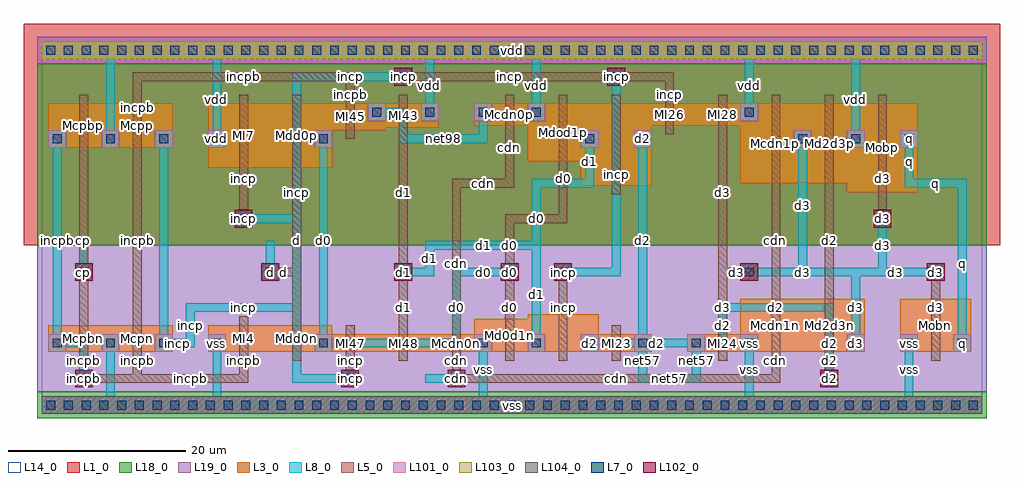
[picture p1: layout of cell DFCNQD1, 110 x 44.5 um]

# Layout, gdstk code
import gdstk
lib = gdstk.Library(unit=1e-6, precision=1e-09)
def R(c, l, rs):  # rectangles x0, y0, x1, y1
    for r in rs: c.add(gdstk.rectangle(r[:2], r[2:], *l))
def A(c, l, x, y, w, h, nx, ny, dx, dy):  # array of equal rectangles
    R(c, l, [(x+i*dx, y+j*dy, x+i*dx+w, y+j*dy+h) for i in range(nx) for j in range(ny)])
L1_0 = (1, 0)
L3_0 = (3, 0)
L5_0 = (5, 0)
L7_0 = (7, 0)
L8_0 = (8, 0)
L13_0 = (13, 0)
L14_0 = (14, 0)
L18_0 = (18, 0)
L19_0 = (19, 0)
L101_0 = (101, 0)
L102_0 = (102, 0)
L103_0 = (103, 0)
L104_0 = (104, 0)

dfcnqd1 = lib.new_cell('DFCNQD1')
R(dfcnqd1, L1_0, [(-2,18,108,43)])
A(dfcnqd1, L3_0, 0.75, 6, 2, 2, 4, 2, 6, 23)
A(dfcnqd1, L3_0, 30.75, 6, 8, 2, 3, 1, 6, 0)
A(dfcnqd1, L3_0, 48.75, 6, 2, 2, 6, 1, 6, 0)
A(dfcnqd1, L3_0, 90.75, 6, 2, 2, 3, 1, 6, 0)
A(dfcnqd1, L3_0, 84.75, 29, 2, 2, 3, 1, 6, 0)
A(dfcnqd1, L3_0, 36.75, 32, 2, 2, 4, 1, 6, 0)
R(dfcnqd1, L3_0, [(0,-1,106,1), (0,-1,106,1), (0.75,6,8.75,9), (6.75,6,14.75,9), (18.75,6,26.75,9), (24.75,6,32.75,9), (30.75,6,32.75,8), (48.75,6,56.75,9.75), (54.75,6,62.75,10.25), (60.75,6,68.75,8), (72.75,6,80.75,8), (78.75,6,86.75,12), (84.75,6,92.75,12), (96.75,6,104.75,12), (90.75,24,98.75,34), (60.75,24.75,68.75,34), (78.75,25,86.75,34), (84.75,25,92.75,34), (18.75,26.75,26.75,34), (24.75,26.75,32.75,34), (54.75,27.5,62.75,34), (0.75,29,8.75,34), (6.75,29,14.75,34), (30.75,29,32.75,31), (60.75,29,62.75,31), (66.75,29,68.75,31), (30.75,31,38.75,34), (36.75,31.25,44.75,34), (48.75,31.5,56.75,34), (66.75,31.5,74.75,34), (72.75,31.5,80.75,34), (78.75,32,80.75,34), (0,39,106,41), (0,39,106,41)])
A(dfcnqd1, L5_0, 10.25, 2.5, 1, 5, 4, 1, 12, 0)
A(dfcnqd1, L5_0, 34.25, 5, 1, 4, 3, 1, 6, 0)
A(dfcnqd1, L5_0, 57.75, 14, 2, 2, 3, 1, 21, 0)
A(dfcnqd1, L5_0, 22.25, 20.5, 1, 10, 3, 1, 36, 0)
R(dfcnqd1, L5_0, [(3.75,2,5.75,4), (33.75,2,35.75,4), (45.75,2,47.75,4), (87.75,2,89.75,4), (4.25,2.5,11.25,3.5), (10.25,2.5,23.25,3.5), (46.25,2.5,83.25,3.5), (82.25,2.5,83.25,7.5), (88.25,2.5,89.25,7.5), (4.25,5,5.25,10), (10.25,5,11.25,10), (22.25,5,23.25,10), (28.25,5,29.25,10), (52.25,5,53.25,10.75), (58.25,5,59.25,11.25), (64.25,5,65.25,9), (76.25,5,77.25,9), (82.25,5,83.25,13), (88.25,5,89.25,13), (100.25,5,101.25,13), (4.25,6.5,5.25,30.5), (10.25,6.5,11.25,30.5), (28.25,6.5,29.25,30.5), (40.25,6.5,41.25,15.5), (46.25,6.5,47.25,25.5), (52.25,6.5,53.25,15.5), (58.25,6.5,59.25,15.5), (76.25,6.5,77.25,15.5), (82.25,6.5,83.25,30.5), (88.25,6.5,89.25,30.5), (100.25,6.5,101.25,15.5), (3.75,14,5.75,16), (24.75,14,26.75,16), (39.75,14,41.75,16), (51.75,14,53.75,16), (25.25,14.5,29.25,15.5), (40.25,14.5,41.25,33.5), (52.25,14.5,53.25,21.5), (76.25,14.5,80.25,15.5), (76.25,14.5,77.25,33.5), (21.75,20,23.75,22), (93.75,20,95.75,22), (52.25,20.5,59.25,21.5), (94.25,23,95.25,35), (64.25,23.75,65.25,35), (82.25,24,83.25,35), (88.25,24,89.25,35), (46.25,24.5,53.25,25.5), (52.25,24.5,53.25,33.5), (22.25,25.75,23.25,35), (28.25,25.75,29.25,35), (58.25,26.5,59.25,35), (4.25,28,5.25,35), (10.25,28,11.25,35), (10.25,29.5,11.25,37.5), (34.25,30,35.25,35), (40.25,30.25,41.25,35), (52.25,30.5,53.25,35), (70.25,30.5,71.25,35), (76.25,30.5,77.25,35), (34.25,32.5,35.25,37.5), (70.25,32.5,71.25,37.5), (39.75,36,41.75,38), (63.75,36,65.75,38), (10.25,36.5,35.25,37.5), (40.25,36.5,65.25,37.5), (64.25,36.5,71.25,37.5)])
A(dfcnqd1, L7_0, 0.5, -0.5, 1, 1, 53, 2, 2, 40)
A(dfcnqd1, L7_0, 1.25, 6.5, 1, 1, 4, 2, 6, 23)
A(dfcnqd1, L7_0, 49.25, 6.5, 1, 1, 6, 1, 6, 0)
A(dfcnqd1, L7_0, 91.25, 6.5, 1, 1, 3, 1, 6, 0)
A(dfcnqd1, L7_0, 58.25, 14.5, 1, 1, 3, 1, 21, 0)
A(dfcnqd1, L7_0, 85.25, 29.5, 1, 1, 3, 1, 6, 0)
A(dfcnqd1, L7_0, 37.25, 32.5, 1, 1, 4, 1, 6, 0)
R(dfcnqd1, L7_0, [(4.25,2.5,5.25,3.5), (34.25,2.5,35.25,3.5), (46.25,2.5,47.25,3.5), (88.25,2.5,89.25,3.5), (31.25,6.5,32.25,7.5), (4.25,14.5,5.25,15.5), (25.25,14.5,26.25,15.5), (40.25,14.5,41.25,15.5), (52.25,14.5,53.25,15.5), (22.25,20.5,23.25,21.5), (94.25,20.5,95.25,21.5), (31.25,29.5,32.25,30.5), (61.25,29.5,62.25,30.5), (67.25,29.5,68.25,30.5), (79.25,32.5,80.25,33.5), (40.25,36.5,41.25,37.5), (64.25,36.5,65.25,37.5)])
A(dfcnqd1, L8_0, 19.25, 0.5, 1, 7, 3, 1, 30, 0)
A(dfcnqd1, L8_0, 0.75, 6, 2, 2, 4, 2, 6, 23)
A(dfcnqd1, L8_0, 48.75, 6, 2, 2, 6, 1, 6, 0)
A(dfcnqd1, L8_0, 90.75, 6, 2, 2, 3, 1, 6, 0)
A(dfcnqd1, L8_0, 57.75, 14, 2, 2, 3, 1, 21, 0)
A(dfcnqd1, L8_0, 84.75, 29, 2, 2, 3, 1, 6, 0)
A(dfcnqd1, L8_0, 36.75, 32, 2, 2, 4, 1, 6, 0)
R(dfcnqd1, L8_0, [(0,-1,106,1), (7.25,0.5,8.25,7.5), (97.25,0.5,98.25,7.5), (3.75,2,5.75,4), (33.75,2,35.75,4), (45.75,2,47.75,4), (87.75,2,89.75,4), (4.25,2.5,5.25,7.5), (28.25,2.5,35.25,3.5), (28.25,2.5,29.25,11.5), (43.25,2.5,47.25,3.5), (67.25,2.5,74.25,3.5), (67.25,2.5,68.25,7.5), (73.25,2.5,74.25,7.5), (88.25,2.5,89.25,11.5), (30.75,6,32.75,8), (1.25,6.5,2.25,30.5), (1.25,6.5,5.25,7.5), (13.25,6.5,14.25,30.5), (13.25,6.5,17.25,7.5), (16.25,6.5,17.25,11.5), (31.25,6.5,32.25,30.5), (31.25,6.5,47.25,7.5), (46.25,6.5,47.25,15.5), (55.25,6.5,56.25,18.5), (61.25,6.5,77.25,7.5), (67.25,6.5,68.25,30.5), (76.25,6.5,77.25,11.5), (91.25,6.5,92.25,15.5), (103.25,6.5,104.25,25.5), (16.25,10.5,29.25,11.5), (28.25,10.5,29.25,37.5), (76.25,10.5,89.25,11.5), (3.75,14,5.75,16), (24.75,14,26.75,16), (39.75,14,41.75,16), (51.75,14,53.75,16), (4.25,14.5,5.25,18.5), (25.25,14.5,26.25,18.5), (40.25,14.5,44.25,15.5), (43.25,14.5,44.25,18.5), (46.25,14.5,53.25,15.5), (58.25,14.5,65.25,15.5), (64.25,14.5,65.25,37.5), (79.25,14.5,92.25,15.5), (85.25,14.5,86.25,30.5), (91.25,14.5,101.25,15.5), (94.25,14.5,95.25,21.5), (43.25,17.5,56.25,18.5), (55.25,17.5,56.25,25.5), (21.75,20,23.75,22), (93.75,20,95.75,22), (22.25,20.5,29.25,21.5), (55.25,24.5,62.25,25.5), (61.25,24.5,62.25,30.5), (97.25,24.5,104.25,25.5), (97.25,24.5,98.25,30.5), (30.75,29,32.75,31), (60.75,29,62.75,31), (66.75,29,68.75,31), (7.25,29.5,8.25,39.5), (19.25,29.5,20.25,39.5), (40.25,29.5,41.25,33.5), (40.25,29.5,50.25,30.5), (49.25,29.5,50.25,33.5), (91.25,29.5,92.25,39.5), (78.75,32,80.75,34), (37.25,32.5,41.25,33.5), (43.25,32.5,44.25,39.5), (55.25,32.5,56.25,39.5), (79.25,32.5,80.25,39.5), (39.75,36,41.75,38), (63.75,36,65.75,38), (28.25,36.5,41.25,37.5), (0,39,106,41)])
R(dfcnqd1, L14_0, [(0,0,106,40)])
R(dfcnqd1, L18_0, [(-0.5,-1.5,106.5,1.5), (-0.5,18,106.5,38.5)])
R(dfcnqd1, L19_0, [(-0.5,1.5,106.5,18), (-0.5,38.5,106.5,41.5)])
A(dfcnqd1, L101_0, 0, -1, 2, 2, 53, 2, 2, 40)
A(dfcnqd1, L101_0, 0.75, 6, 2, 2, 4, 2, 6, 23)
A(dfcnqd1, L101_0, 48.75, 6, 2, 2, 6, 1, 6, 0)
A(dfcnqd1, L101_0, 90.75, 6, 2, 2, 3, 1, 6, 0)
A(dfcnqd1, L101_0, 84.75, 29, 2, 2, 3, 1, 6, 0)
A(dfcnqd1, L101_0, 36.75, 32, 2, 2, 4, 1, 6, 0)
R(dfcnqd1, L101_0, [(30.75,6,32.75,8), (30.75,29,32.75,31), (60.75,29,62.75,31), (66.75,29,68.75,31), (78.75,32,80.75,34)])
A(dfcnqd1, L102_0, 57.75, 14, 2, 2, 3, 1, 21, 0)
R(dfcnqd1, L102_0, [(3.75,2,5.75,4), (33.75,2,35.75,4), (45.75,2,47.75,4), (87.75,2,89.75,4), (3.75,14,5.75,16), (24.75,14,26.75,16), (39.75,14,41.75,16), (51.75,14,53.75,16), (21.75,20,23.75,22), (93.75,20,95.75,22), (39.75,36,41.75,38), (63.75,36,65.75,38)])
R(dfcnqd1, L103_0, [(0,39,106,41)])
R(dfcnqd1, L104_0, [(0,-1,106,1)])
dfcnqd1.add(gdstk.FlexPath([(0.75,3),(104.75,3)], 0, ends="flush", simple_path=True, layer=13, datatype=0))  # L13_0
dfcnqd1.add(gdstk.FlexPath([(0.75,7),(104.75,7)], 0, ends="flush", simple_path=True, layer=13, datatype=0))  # L13_0
dfcnqd1.add(gdstk.FlexPath([(0.75,11),(104.75,11)], 0, ends="flush", simple_path=True, layer=13, datatype=0))  # L13_0
dfcnqd1.add(gdstk.FlexPath([(0.75,15),(104.75,15)], 0, ends="flush", simple_path=True, layer=13, datatype=0))  # L13_0
dfcnqd1.add(gdstk.FlexPath([(0.75,18),(104.75,18)], 0, ends="flush", simple_path=True, layer=13, datatype=0))  # L13_0
dfcnqd1.add(gdstk.FlexPath([(0.75,21),(104.75,21)], 0, ends="flush", simple_path=True, layer=13, datatype=0))  # L13_0
dfcnqd1.add(gdstk.FlexPath([(0.75,25),(104.75,25)], 0, ends="flush", simple_path=True, layer=13, datatype=0))  # L13_0
dfcnqd1.add(gdstk.FlexPath([(0.75,30),(104.75,30)], 0, ends="flush", simple_path=True, layer=13, datatype=0))  # L13_0
dfcnqd1.add(gdstk.FlexPath([(0.75,33),(104.75,33)], 0, ends="flush", simple_path=True, layer=13, datatype=0))  # L13_0
dfcnqd1.add(gdstk.FlexPath([(0.75,37),(104.75,37)], 0, ends="flush", simple_path=True, layer=13, datatype=0))  # L13_0
dfcnqd1.add(gdstk.FlexPath([(1.75,0.5),(1.75,39.5)], 0, ends="flush", simple_path=True, layer=13, datatype=0))  # L13_0
dfcnqd1.add(gdstk.FlexPath([(4.75,0.5),(4.75,39.5)], 0, ends="flush", simple_path=True, layer=13, datatype=0))  # L13_0
dfcnqd1.add(gdstk.FlexPath([(7.75,0.5),(7.75,39.5)], 0, ends="flush", simple_path=True, layer=13, datatype=0))  # L13_0
dfcnqd1.add(gdstk.FlexPath([(10.75,0.5),(10.75,39.5)], 0, ends="flush", simple_path=True, layer=13, datatype=0))  # L13_0
dfcnqd1.add(gdstk.FlexPath([(13.75,0.5),(13.75,39.5)], 0, ends="flush", simple_path=True, layer=13, datatype=0))  # L13_0
dfcnqd1.add(gdstk.FlexPath([(16.75,0.5),(16.75,39.5)], 0, ends="flush", simple_path=True, layer=13, datatype=0))  # L13_0
dfcnqd1.add(gdstk.FlexPath([(19.75,0.5),(19.75,39.5)], 0, ends="flush", simple_path=True, layer=13, datatype=0))  # L13_0
dfcnqd1.add(gdstk.FlexPath([(22.75,0.5),(22.75,39.5)], 0, ends="flush", simple_path=True, layer=13, datatype=0))  # L13_0
dfcnqd1.add(gdstk.FlexPath([(25.75,0.5),(25.75,39.5)], 0, ends="flush", simple_path=True, layer=13, datatype=0))  # L13_0
dfcnqd1.add(gdstk.FlexPath([(28.75,0.5),(28.75,39.5)], 0, ends="flush", simple_path=True, layer=13, datatype=0))  # L13_0
dfcnqd1.add(gdstk.FlexPath([(31.75,0.5),(31.75,39.5)], 0, ends="flush", simple_path=True, layer=13, datatype=0))  # L13_0
dfcnqd1.add(gdstk.FlexPath([(34.75,0.5),(34.75,39.5)], 0, ends="flush", simple_path=True, layer=13, datatype=0))  # L13_0
dfcnqd1.add(gdstk.FlexPath([(37.75,0.5),(37.75,39.5)], 0, ends="flush", simple_path=True, layer=13, datatype=0))  # L13_0
dfcnqd1.add(gdstk.FlexPath([(40.75,0.5),(40.75,39.5)], 0, ends="flush", simple_path=True, layer=13, datatype=0))  # L13_0
dfcnqd1.add(gdstk.FlexPath([(43.75,0.5),(43.75,39.5)], 0, ends="flush", simple_path=True, layer=13, datatype=0))  # L13_0
dfcnqd1.add(gdstk.FlexPath([(46.75,0.5),(46.75,39.5)], 0, ends="flush", simple_path=True, layer=13, datatype=0))  # L13_0
dfcnqd1.add(gdstk.FlexPath([(49.75,0.5),(49.75,39.5)], 0, ends="flush", simple_path=True, layer=13, datatype=0))  # L13_0
dfcnqd1.add(gdstk.FlexPath([(52.75,0.5),(52.75,39.5)], 0, ends="flush", simple_path=True, layer=13, datatype=0))  # L13_0
dfcnqd1.add(gdstk.FlexPath([(55.75,0.5),(55.75,39.5)], 0, ends="flush", simple_path=True, layer=13, datatype=0))  # L13_0
dfcnqd1.add(gdstk.FlexPath([(58.75,0.5),(58.75,39.5)], 0, ends="flush", simple_path=True, layer=13, datatype=0))  # L13_0
dfcnqd1.add(gdstk.FlexPath([(61.75,0.5),(61.75,39.5)], 0, ends="flush", simple_path=True, layer=13, datatype=0))  # L13_0
dfcnqd1.add(gdstk.FlexPath([(64.75,0.5),(64.75,39.5)], 0, ends="flush", simple_path=True, layer=13, datatype=0))  # L13_0
dfcnqd1.add(gdstk.FlexPath([(67.75,0.5),(67.75,39.5)], 0, ends="flush", simple_path=True, layer=13, datatype=0))  # L13_0
dfcnqd1.add(gdstk.FlexPath([(70.75,0.5),(70.75,39.5)], 0, ends="flush", simple_path=True, layer=13, datatype=0))  # L13_0
dfcnqd1.add(gdstk.FlexPath([(73.75,0.5),(73.75,39.5)], 0, ends="flush", simple_path=True, layer=13, datatype=0))  # L13_0
dfcnqd1.add(gdstk.FlexPath([(76.75,0.5),(76.75,39.5)], 0, ends="flush", simple_path=True, layer=13, datatype=0))  # L13_0
dfcnqd1.add(gdstk.FlexPath([(79.75,0.5),(79.75,39.5)], 0, ends="flush", simple_path=True, layer=13, datatype=0))  # L13_0
dfcnqd1.add(gdstk.FlexPath([(82.75,0.5),(82.75,39.5)], 0, ends="flush", simple_path=True, layer=13, datatype=0))  # L13_0
dfcnqd1.add(gdstk.FlexPath([(85.75,0.5),(85.75,39.5)], 0, ends="flush", simple_path=True, layer=13, datatype=0))  # L13_0
dfcnqd1.add(gdstk.FlexPath([(88.75,0.5),(88.75,39.5)], 0, ends="flush", simple_path=True, layer=13, datatype=0))  # L13_0
dfcnqd1.add(gdstk.FlexPath([(91.75,0.5),(91.75,39.5)], 0, ends="flush", simple_path=True, layer=13, datatype=0))  # L13_0
dfcnqd1.add(gdstk.FlexPath([(94.75,0.5),(94.75,39.5)], 0, ends="flush", simple_path=True, layer=13, datatype=0))  # L13_0
dfcnqd1.add(gdstk.FlexPath([(97.75,0.5),(97.75,39.5)], 0, ends="flush", simple_path=True, layer=13, datatype=0))  # L13_0
dfcnqd1.add(gdstk.FlexPath([(100.75,0.5),(100.75,39.5)], 0, ends="flush", simple_path=True, layer=13, datatype=0))  # L13_0
dfcnqd1.add(gdstk.FlexPath([(103.75,0.5),(103.75,39.5)], 0, ends="flush", simple_path=True, layer=13, datatype=0))  # L13_0
dfcnqd1.add(gdstk.Label('Mcpbn', (4.75,7.5), layer=3, texttype=0))
dfcnqd1.add(gdstk.Label('Mcpn', (10.75,7.5), layer=3, texttype=0))
dfcnqd1.add(gdstk.Label('MI4', (22.75,7.5), layer=3, texttype=0))
dfcnqd1.add(gdstk.Label('Mdd0n', (28.75,7.5), layer=3, texttype=0))
dfcnqd1.add(gdstk.Label('MI47', (34.75,7), layer=3, texttype=0))
dfcnqd1.add(gdstk.Label('MI48', (40.75,7), layer=3, texttype=0))
dfcnqd1.add(gdstk.Label('Mcdn0n', (46.75,7), layer=3, texttype=0))
dfcnqd1.add(gdstk.Label('Md0d1n', (52.75,7.875), layer=3, texttype=0))
dfcnqd1.add(gdstk.Label('Mswd1d2n', (58.75,8.125), layer=3, texttype=0))
dfcnqd1.add(gdstk.Label('MI23', (64.75,7), layer=3, texttype=0))
dfcnqd1.add(gdstk.Label('MI24', (76.75,7), layer=3, texttype=0))
dfcnqd1.add(gdstk.Label('Mcdn1n', (82.75,9), layer=3, texttype=0))
dfcnqd1.add(gdstk.Label('Md2d3n', (88.75,9), layer=3, texttype=0))
dfcnqd1.add(gdstk.Label('Mobn', (100.75,9), layer=3, texttype=0))
dfcnqd1.add(gdstk.Label('Mcpbp', (4.75,31.5), layer=3, texttype=0))
dfcnqd1.add(gdstk.Label('Mcpp', (10.75,31.5), layer=3, texttype=0))
dfcnqd1.add(gdstk.Label('MI7', (22.75,30.375), layer=3, texttype=0))
dfcnqd1.add(gdstk.Label('Mdd0p', (28.75,30.375), layer=3, texttype=0))
dfcnqd1.add(gdstk.Label('MI45', (34.75,32.5), layer=3, texttype=0))
dfcnqd1.add(gdstk.Label('MI43', (40.75,32.625), layer=3, texttype=0))
dfcnqd1.add(gdstk.Label('Mcdn0p', (52.75,32.75), layer=3, texttype=0))
dfcnqd1.add(gdstk.Label('Mdod1p', (58.75,30.75), layer=3, texttype=0))
dfcnqd1.add(gdstk.Label('Mswd1d2p', (64.75,29.375), layer=3, texttype=0))
dfcnqd1.add(gdstk.Label('MI26', (70.75,32.75), layer=3, texttype=0))
dfcnqd1.add(gdstk.Label('MI28', (76.75,32.75), layer=3, texttype=0))
dfcnqd1.add(gdstk.Label('Mcdn1p', (82.75,29.5), layer=3, texttype=0))
dfcnqd1.add(gdstk.Label('Md2d3p', (88.75,29.5), layer=3, texttype=0))
dfcnqd1.add(gdstk.Label('Mobp', (94.75,29), layer=3, texttype=0))
dfcnqd1.add(gdstk.Label('incpb', (1.75,7), layer=3, texttype=0))
dfcnqd1.add(gdstk.Label('incpb', (1.75,30), layer=3, texttype=0))
dfcnqd1.add(gdstk.Label('incp', (13.75,7), layer=3, texttype=0))
dfcnqd1.add(gdstk.Label('incp', (13.75,30), layer=3, texttype=0))
dfcnqd1.add(gdstk.Label('d0', (31.75,7), layer=3, texttype=0))
dfcnqd1.add(gdstk.Label('d0', (31.75,30), layer=3, texttype=0))
dfcnqd1.add(gdstk.Label('net98', (37.75,33), layer=3, texttype=0))
dfcnqd1.add(gdstk.Label('net98', (49.75,33), layer=3, texttype=0))
dfcnqd1.add(gdstk.Label('d1', (55.75,7), layer=3, texttype=0))
dfcnqd1.add(gdstk.Label('d1', (61.75,30), layer=3, texttype=0))
dfcnqd1.add(gdstk.Label('d2', (61.75,7), layer=3, texttype=0))
dfcnqd1.add(gdstk.Label('d2', (67.75,30), layer=3, texttype=0))
dfcnqd1.add(gdstk.Label('net57', (67.75,7), layer=3, texttype=0))
dfcnqd1.add(gdstk.Label('net57', (73.75,7), layer=3, texttype=0))
dfcnqd1.add(gdstk.Label('d3', (91.75,7), layer=3, texttype=0))
dfcnqd1.add(gdstk.Label('d3', (85.75,30), layer=3, texttype=0))
dfcnqd1.add(gdstk.Label('q', (103.75,7), layer=3, texttype=0))
dfcnqd1.add(gdstk.Label('q', (97.75,30), layer=3, texttype=0))
dfcnqd1.add(gdstk.Label('vss', (7.75,7), layer=3, texttype=0))
dfcnqd1.add(gdstk.Label('vss', (19.75,7), layer=3, texttype=0))
dfcnqd1.add(gdstk.Label('vss', (49.75,7), layer=3, texttype=0))
dfcnqd1.add(gdstk.Label('vss', (79.75,7), layer=3, texttype=0))
dfcnqd1.add(gdstk.Label('vss', (97.75,7), layer=3, texttype=0))
dfcnqd1.add(gdstk.Label('vdd', (7.75,30), layer=3, texttype=0))
dfcnqd1.add(gdstk.Label('vdd', (19.75,30), layer=3, texttype=0))
dfcnqd1.add(gdstk.Label('vdd', (43.75,33), layer=3, texttype=0))
dfcnqd1.add(gdstk.Label('vdd', (55.75,33), layer=3, texttype=0))
dfcnqd1.add(gdstk.Label('vdd', (79.75,33), layer=3, texttype=0))
dfcnqd1.add(gdstk.Label('vdd', (91.75,30), layer=3, texttype=0))
dfcnqd1.add(gdstk.Label('incpb', (4.75,3), layer=5, texttype=0))
dfcnqd1.add(gdstk.Label('incpb', (7.75,3), layer=5, texttype=0))
dfcnqd1.add(gdstk.Label('incpb', (10.75,5), layer=5, texttype=0))
dfcnqd1.add(gdstk.Label('incpb', (16.75,3), layer=5, texttype=0))
dfcnqd1.add(gdstk.Label('incpb', (22.75,5), layer=5, texttype=0))
dfcnqd1.add(gdstk.Label('incpb', (10.75,18.5), layer=5, texttype=0))
dfcnqd1.add(gdstk.Label('incpb', (10.75,33.5), layer=5, texttype=0))
dfcnqd1.add(gdstk.Label('incpb', (22.75,37), layer=5, texttype=0))
dfcnqd1.add(gdstk.Label('incpb', (34.75,35), layer=5, texttype=0))
dfcnqd1.add(gdstk.Label('cp', (4.75,18.5), layer=5, texttype=0))
dfcnqd1.add(gdstk.Label('cp', (4.75,15), layer=5, texttype=0))
dfcnqd1.add(gdstk.Label('incp', (34.75,3), layer=5, texttype=0))
dfcnqd1.add(gdstk.Label('incp', (34.75,5), layer=5, texttype=0))
dfcnqd1.add(gdstk.Label('incp', (40.75,37), layer=5, texttype=0))
dfcnqd1.add(gdstk.Label('incp', (52.75,37), layer=5, texttype=0))
dfcnqd1.add(gdstk.Label('incp', (64.75,37), layer=5, texttype=0))
dfcnqd1.add(gdstk.Label('incp', (58.75,15), layer=5, texttype=0))
dfcnqd1.add(gdstk.Label('incp', (58.75,11), layer=5, texttype=0))
dfcnqd1.add(gdstk.Label('incp', (22.75,21), layer=5, texttype=0))
dfcnqd1.add(gdstk.Label('incp', (22.75,25.5), layer=5, texttype=0))
dfcnqd1.add(gdstk.Label('incp', (67.75,37), layer=5, texttype=0))
dfcnqd1.add(gdstk.Label('incp', (70.75,35), layer=5, texttype=0))
dfcnqd1.add(gdstk.Label('d0', (52.75,15), layer=5, texttype=0))
dfcnqd1.add(gdstk.Label('d0', (52.75,11), layer=5, texttype=0))
dfcnqd1.add(gdstk.Label('d0', (52.75,18), layer=5, texttype=0))
dfcnqd1.add(gdstk.Label('d0', (55.75,21), layer=5, texttype=0))
dfcnqd1.add(gdstk.Label('d0', (58.75,25.5), layer=5, texttype=0))
dfcnqd1.add(gdstk.Label('d', (28.75,18.5), layer=5, texttype=0))
dfcnqd1.add(gdstk.Label('d', (27.25,15), layer=5, texttype=0))
dfcnqd1.add(gdstk.Label('d', (25.75,15), layer=5, texttype=0))
dfcnqd1.add(gdstk.Label('d1', (40.75,11), layer=5, texttype=0))
dfcnqd1.add(gdstk.Label('d1', (40.75,15), layer=5, texttype=0))
dfcnqd1.add(gdstk.Label('d1', (40.75,24), layer=5, texttype=0))
dfcnqd1.add(gdstk.Label('cdn', (46.75,5), layer=5, texttype=0))
dfcnqd1.add(gdstk.Label('cdn', (64.75,3), layer=5, texttype=0))
dfcnqd1.add(gdstk.Label('cdn', (82.75,5), layer=5, texttype=0))
dfcnqd1.add(gdstk.Label('cdn', (46.75,16), layer=5, texttype=0))
dfcnqd1.add(gdstk.Label('cdn', (49.75,25), layer=5, texttype=0))
dfcnqd1.add(gdstk.Label('cdn', (52.75,29), layer=5, texttype=0))
dfcnqd1.add(gdstk.Label('cdn', (82.75,18.5), layer=5, texttype=0))
dfcnqd1.add(gdstk.Label('cdn', (46.75,3), layer=5, texttype=0))
dfcnqd1.add(gdstk.Label('d2', (88.75,3), layer=5, texttype=0))
dfcnqd1.add(gdstk.Label('d2', (88.75,5), layer=5, texttype=0))
dfcnqd1.add(gdstk.Label('d2', (88.75,18.5), layer=5, texttype=0))
dfcnqd1.add(gdstk.Label('d3', (76.75,11), layer=5, texttype=0))
dfcnqd1.add(gdstk.Label('d3', (78.25,15), layer=5, texttype=0))
dfcnqd1.add(gdstk.Label('d3', (79.75,15), layer=5, texttype=0))
dfcnqd1.add(gdstk.Label('d3', (100.75,15), layer=5, texttype=0))
dfcnqd1.add(gdstk.Label('d3', (100.75,11), layer=5, texttype=0))
dfcnqd1.add(gdstk.Label('d3', (76.75,24), layer=5, texttype=0))
dfcnqd1.add(gdstk.Label('d3', (94.75,21), layer=5, texttype=0))
dfcnqd1.add(gdstk.Label('d3', (94.75,25.5), layer=5, texttype=0))
dfcnqd1.add(gdstk.Label('incpb', (1.75,7), layer=101, texttype=0))
dfcnqd1.add(gdstk.Label('incpb', (1.75,30), layer=101, texttype=0))
dfcnqd1.add(gdstk.Label('incp', (13.75,7), layer=101, texttype=0))
dfcnqd1.add(gdstk.Label('incp', (13.75,30), layer=101, texttype=0))
dfcnqd1.add(gdstk.Label('d0', (31.75,7), layer=101, texttype=0))
dfcnqd1.add(gdstk.Label('d0', (31.75,30), layer=101, texttype=0))
dfcnqd1.add(gdstk.Label('net98', (37.75,33), layer=101, texttype=0))
dfcnqd1.add(gdstk.Label('net98', (49.75,33), layer=101, texttype=0))
dfcnqd1.add(gdstk.Label('d1', (55.75,7), layer=101, texttype=0))
dfcnqd1.add(gdstk.Label('d1', (61.75,30), layer=101, texttype=0))
dfcnqd1.add(gdstk.Label('d2', (61.75,7), layer=101, texttype=0))
dfcnqd1.add(gdstk.Label('d2', (67.75,30), layer=101, texttype=0))
dfcnqd1.add(gdstk.Label('net57', (67.75,7), layer=101, texttype=0))
dfcnqd1.add(gdstk.Label('net57', (73.75,7), layer=101, texttype=0))
dfcnqd1.add(gdstk.Label('d3', (91.75,7), layer=101, texttype=0))
dfcnqd1.add(gdstk.Label('d3', (85.75,30), layer=101, texttype=0))
dfcnqd1.add(gdstk.Label('q', (103.75,7), layer=101, texttype=0))
dfcnqd1.add(gdstk.Label('q', (97.75,30), layer=101, texttype=0))
dfcnqd1.add(gdstk.Label('vss', (7.75,7), layer=101, texttype=0))
dfcnqd1.add(gdstk.Label('vss', (19.75,7), layer=101, texttype=0))
dfcnqd1.add(gdstk.Label('vss', (49.75,7), layer=101, texttype=0))
dfcnqd1.add(gdstk.Label('vss', (79.75,7), layer=101, texttype=0))
dfcnqd1.add(gdstk.Label('vss', (97.75,7), layer=101, texttype=0))
dfcnqd1.add(gdstk.Label('vdd', (7.75,30), layer=101, texttype=0))
dfcnqd1.add(gdstk.Label('vdd', (19.75,30), layer=101, texttype=0))
dfcnqd1.add(gdstk.Label('vdd', (43.75,33), layer=101, texttype=0))
dfcnqd1.add(gdstk.Label('vdd', (55.75,33), layer=101, texttype=0))
dfcnqd1.add(gdstk.Label('vdd', (79.75,33), layer=101, texttype=0))
dfcnqd1.add(gdstk.Label('vdd', (91.75,30), layer=101, texttype=0))
dfcnqd1.add(gdstk.Label('incpb', (4.75,3), layer=102, texttype=0))
dfcnqd1.add(gdstk.Label('cp', (4.75,15), layer=102, texttype=0))
dfcnqd1.add(gdstk.Label('incp', (34.75,3), layer=102, texttype=0))
dfcnqd1.add(gdstk.Label('incp', (40.75,37), layer=102, texttype=0))
dfcnqd1.add(gdstk.Label('incp', (64.75,37), layer=102, texttype=0))
dfcnqd1.add(gdstk.Label('incp', (58.75,15), layer=102, texttype=0))
dfcnqd1.add(gdstk.Label('incp', (22.75,21), layer=102, texttype=0))
dfcnqd1.add(gdstk.Label('d0', (52.75,15), layer=102, texttype=0))
dfcnqd1.add(gdstk.Label('d', (25.75,15), layer=102, texttype=0))
dfcnqd1.add(gdstk.Label('d1', (40.75,15), layer=102, texttype=0))
dfcnqd1.add(gdstk.Label('cdn', (46.75,3), layer=102, texttype=0))
dfcnqd1.add(gdstk.Label('d2', (88.75,3), layer=102, texttype=0))
dfcnqd1.add(gdstk.Label('d3', (79.75,15), layer=102, texttype=0))
dfcnqd1.add(gdstk.Label('d3', (100.75,15), layer=102, texttype=0))
dfcnqd1.add(gdstk.Label('d3', (94.75,21), layer=102, texttype=0))
dfcnqd1.add(gdstk.Label('incp', (64.75,37), layer=8, texttype=0))
dfcnqd1.add(gdstk.Label('incp', (64.75,26), layer=8, texttype=0))
dfcnqd1.add(gdstk.Label('d1', (61.75,30), layer=8, texttype=0))
dfcnqd1.add(gdstk.Label('d1', (55.75,21.5), layer=8, texttype=0))
dfcnqd1.add(gdstk.Label('d1', (58.75,25), layer=8, texttype=0))
dfcnqd1.add(gdstk.Label('d1', (61.75,27.5), layer=8, texttype=0))
dfcnqd1.add(gdstk.Label('d2', (67.75,30), layer=8, texttype=0))
dfcnqd1.add(gdstk.Label('d3', (85.75,30), layer=8, texttype=0))
dfcnqd1.add(gdstk.Label('d3', (85.75,22.5), layer=8, texttype=0))
dfcnqd1.add(gdstk.Label('d3', (94.75,21), layer=8, texttype=0))
dfcnqd1.add(gdstk.Label('q', (97.75,30), layer=8, texttype=0))
dfcnqd1.add(gdstk.Label('q', (100.75,25), layer=8, texttype=0))
dfcnqd1.add(gdstk.Label('q', (97.75,27.5), layer=8, texttype=0))
dfcnqd1.add(gdstk.Label('vdd', (55.75,33), layer=8, texttype=0))
dfcnqd1.add(gdstk.Label('vdd', (55.75,36), layer=8, texttype=0))
dfcnqd1.add(gdstk.Label('vdd', (79.75,33), layer=8, texttype=0))
dfcnqd1.add(gdstk.Label('vdd', (79.75,36), layer=8, texttype=0))
dfcnqd1.add(gdstk.Label('vdd', (91.75,30), layer=8, texttype=0))
dfcnqd1.add(gdstk.Label('vdd', (91.75,34.5), layer=8, texttype=0))
dfcnqd1.add(gdstk.Label('vdd', (53,40), layer=8, texttype=0))
dfcnqd1.add(gdstk.Label('incp', (13.75,30), layer=8, texttype=0))
dfcnqd1.add(gdstk.Label('incp', (25.75,21), layer=8, texttype=0))
dfcnqd1.add(gdstk.Label('incp', (22.75,21), layer=8, texttype=0))
dfcnqd1.add(gdstk.Label('d0', (31.75,30), layer=8, texttype=0))
dfcnqd1.add(gdstk.Label('net98', (37.75,33), layer=8, texttype=0))
dfcnqd1.add(gdstk.Label('net98', (49.75,33), layer=8, texttype=0))
dfcnqd1.add(gdstk.Label('net98', (39.25,33), layer=8, texttype=0))
dfcnqd1.add(gdstk.Label('vdd', (7.75,30), layer=8, texttype=0))
dfcnqd1.add(gdstk.Label('vdd', (7.75,34.5), layer=8, texttype=0))
dfcnqd1.add(gdstk.Label('vdd', (19.75,30), layer=8, texttype=0))
dfcnqd1.add(gdstk.Label('vdd', (19.75,34.5), layer=8, texttype=0))
dfcnqd1.add(gdstk.Label('vdd', (43.75,33), layer=8, texttype=0))
dfcnqd1.add(gdstk.Label('vdd', (43.75,36), layer=8, texttype=0))
dfcnqd1.add(gdstk.Label('net98', (40.75,31.5), layer=8, texttype=0))
dfcnqd1.add(gdstk.Label('net98', (45.25,30), layer=8, texttype=0))
dfcnqd1.add(gdstk.Label('net98', (49.75,31.5), layer=8, texttype=0))
dfcnqd1.add(gdstk.Label('incp', (28.75,24), layer=8, texttype=0))
dfcnqd1.add(gdstk.Label('incp', (34.75,37), layer=8, texttype=0))
dfcnqd1.add(gdstk.Label('incp', (40.75,37), layer=8, texttype=0))
dfcnqd1.add(gdstk.Label('incpb', (1.75,30), layer=8, texttype=0))
dfcnqd1.add(gdstk.Label('d1', (40.75,15), layer=8, texttype=0))
dfcnqd1.add(gdstk.Label('d1', (42.25,15), layer=8, texttype=0))
dfcnqd1.add(gdstk.Label('d1', (43.75,16.5), layer=8, texttype=0))
dfcnqd1.add(gdstk.Label('d1', (49.75,18), layer=8, texttype=0))
dfcnqd1.add(gdstk.Label('incpb', (4.75,5), layer=8, texttype=0))
dfcnqd1.add(gdstk.Label('incpb', (4.75,3), layer=8, texttype=0))
dfcnqd1.add(gdstk.Label('incpb', (1.75,18.5), layer=8, texttype=0))
dfcnqd1.add(gdstk.Label('cdn', (46.75,3), layer=8, texttype=0))
dfcnqd1.add(gdstk.Label('cdn', (45.25,3), layer=8, texttype=0))
dfcnqd1.add(gdstk.Label('cp', (4.75,15), layer=8, texttype=0))
dfcnqd1.add(gdstk.Label('incp', (13.75,18.5), layer=8, texttype=0))
dfcnqd1.add(gdstk.Label('cp', (4.75,16.5), layer=8, texttype=0))
dfcnqd1.add(gdstk.Label('incp', (13.75,7), layer=8, texttype=0))
dfcnqd1.add(gdstk.Label('d0', (31.75,7), layer=8, texttype=0))
dfcnqd1.add(gdstk.Label('incpb', (1.75,7), layer=8, texttype=0))
dfcnqd1.add(gdstk.Label('d0', (39.25,7), layer=8, texttype=0))
dfcnqd1.add(gdstk.Label('vss', (7.75,7), layer=8, texttype=0))
dfcnqd1.add(gdstk.Label('vss', (7.75,4), layer=8, texttype=0))
dfcnqd1.add(gdstk.Label('vss', (19.75,7), layer=8, texttype=0))
dfcnqd1.add(gdstk.Label('vss', (19.75,4), layer=8, texttype=0))
dfcnqd1.add(gdstk.Label('vss', (49.75,7), layer=8, texttype=0))
dfcnqd1.add(gdstk.Label('vss', (49.75,4), layer=8, texttype=0))
dfcnqd1.add(gdstk.Label('d0', (46.75,11), layer=8, texttype=0))
dfcnqd1.add(gdstk.Label('d0', (49.75,15), layer=8, texttype=0))
dfcnqd1.add(gdstk.Label('d0', (52.75,15), layer=8, texttype=0))
dfcnqd1.add(gdstk.Label('d0', (31.75,18.5), layer=8, texttype=0))
dfcnqd1.add(gdstk.Label('d', (25.75,15), layer=8, texttype=0))
dfcnqd1.add(gdstk.Label('d', (25.75,16.5), layer=8, texttype=0))
dfcnqd1.add(gdstk.Label('incp', (15.25,7), layer=8, texttype=0))
dfcnqd1.add(gdstk.Label('incp', (16.75,9), layer=8, texttype=0))
dfcnqd1.add(gdstk.Label('incp', (22.75,11), layer=8, texttype=0))
dfcnqd1.add(gdstk.Label('incp', (28.75,7), layer=8, texttype=0))
dfcnqd1.add(gdstk.Label('incp', (31.75,3), layer=8, texttype=0))
dfcnqd1.add(gdstk.Label('incp', (34.75,3), layer=8, texttype=0))
dfcnqd1.add(gdstk.Label('incpb', (3.25,7), layer=8, texttype=0))
dfcnqd1.add(gdstk.Label('d1', (55.75,7), layer=8, texttype=0))
dfcnqd1.add(gdstk.Label('q', (103.75,7), layer=8, texttype=0))
dfcnqd1.add(gdstk.Label('d2', (61.75,7), layer=8, texttype=0))
dfcnqd1.add(gdstk.Label('q', (103.75,16), layer=8, texttype=0))
dfcnqd1.add(gdstk.Label('incp', (61.75,15), layer=8, texttype=0))
dfcnqd1.add(gdstk.Label('d2', (69.25,7), layer=8, texttype=0))
dfcnqd1.add(gdstk.Label('d2', (76.75,9), layer=8, texttype=0))
dfcnqd1.add(gdstk.Label('d2', (82.75,11), layer=8, texttype=0))
dfcnqd1.add(gdstk.Label('d2', (88.75,7), layer=8, texttype=0))
dfcnqd1.add(gdstk.Label('d2', (88.75,3), layer=8, texttype=0))
dfcnqd1.add(gdstk.Label('d2', (67.75,18.5), layer=8, texttype=0))
dfcnqd1.add(gdstk.Label('net57', (67.75,7), layer=8, texttype=0))
dfcnqd1.add(gdstk.Label('vss', (79.75,7), layer=8, texttype=0))
dfcnqd1.add(gdstk.Label('vss', (79.75,4), layer=8, texttype=0))
dfcnqd1.add(gdstk.Label('vss', (97.75,7), layer=8, texttype=0))
dfcnqd1.add(gdstk.Label('vss', (97.75,4), layer=8, texttype=0))
dfcnqd1.add(gdstk.Label('net57', (73.75,7), layer=8, texttype=0))
dfcnqd1.add(gdstk.Label('net57', (67.75,5), layer=8, texttype=0))
dfcnqd1.add(gdstk.Label('net57', (70.75,3), layer=8, texttype=0))
dfcnqd1.add(gdstk.Label('net57', (73.75,5), layer=8, texttype=0))
dfcnqd1.add(gdstk.Label('d3', (91.75,7), layer=8, texttype=0))
dfcnqd1.add(gdstk.Label('incp', (58.75,15), layer=8, texttype=0))
dfcnqd1.add(gdstk.Label('d3', (79.75,15), layer=8, texttype=0))
dfcnqd1.add(gdstk.Label('d3', (85.75,15), layer=8, texttype=0))
dfcnqd1.add(gdstk.Label('d3', (91.75,11), layer=8, texttype=0))
dfcnqd1.add(gdstk.Label('d3', (96.25,15), layer=8, texttype=0))
dfcnqd1.add(gdstk.Label('d3', (100.75,15), layer=8, texttype=0))
dfcnqd1.add(gdstk.Label('d1', (55.75,12.5), layer=8, texttype=0))
dfcnqd1.add(gdstk.Label('vss', (53,0), layer=8, texttype=0))
dfcnqd1.add(gdstk.Label('d3', (94.75,18), layer=8, texttype=0))

lib.write_gds('DFCNQD1.gds')
